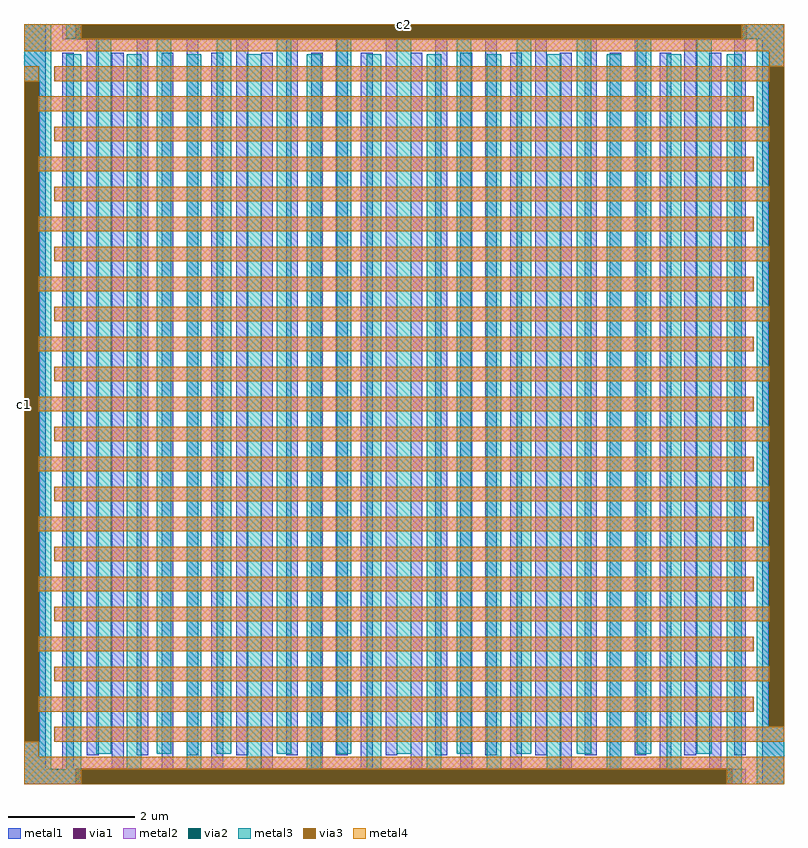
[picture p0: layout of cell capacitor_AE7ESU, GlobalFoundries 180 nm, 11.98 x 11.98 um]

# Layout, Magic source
magic
tech gf180mcuD
magscale 3 26
<< metal1 >>
rect 0 1920 60 2076
rect 104 2075 2076 2076
rect 104 2035 142 2075
rect 1974 2035 2076 2075
rect 104 2034 2076 2035
rect 0 116 1 1920
rect 41 116 60 1920
rect 0 42 60 116
rect 104 42 136 1998
rect 172 78 204 2034
rect 240 42 272 1998
rect 308 78 340 2034
rect 376 42 408 1998
rect 444 78 476 2034
rect 512 42 544 1998
rect 580 78 612 2034
rect 648 42 680 1998
rect 716 78 748 2034
rect 784 42 816 1998
rect 852 78 884 2034
rect 920 42 952 1998
rect 988 78 1020 2034
rect 1056 42 1088 1998
rect 1124 78 1156 2034
rect 1192 42 1224 1998
rect 1260 78 1292 2034
rect 1328 42 1360 1998
rect 1396 78 1428 2034
rect 1464 42 1496 1998
rect 1532 78 1564 2034
rect 1600 42 1632 1998
rect 1668 78 1700 2034
rect 1736 42 1768 1998
rect 1804 78 1836 2034
rect 1872 42 1904 1998
rect 1940 78 1972 2034
rect 2016 1960 2076 2034
rect 2016 156 2035 1960
rect 2075 156 2076 1960
rect 0 41 1972 42
rect 0 1 142 41
rect 1934 1 1972 41
rect 0 0 1972 1
rect 2016 0 2076 156
<< via1 >>
rect 142 2035 1974 2075
rect 1 116 41 1920
rect 2035 156 2075 1960
rect 142 1 1934 41
<< metal2 >>
rect 0 2075 156 2076
rect 1960 2075 2076 2076
rect 0 2035 142 2075
rect 1974 2035 2076 2075
rect 0 2002 2076 2035
rect 2035 1960 2076 2002
rect 0 1920 41 1960
rect 84 1920 2035 1960
rect 41 1838 1992 1878
rect 84 1756 2035 1796
rect 41 1674 1992 1714
rect 84 1592 2035 1632
rect 41 1510 1992 1550
rect 84 1428 2035 1468
rect 41 1346 1992 1386
rect 84 1264 2035 1304
rect 41 1182 1992 1222
rect 84 1100 2035 1140
rect 41 1018 1992 1058
rect 84 936 2035 976
rect 41 854 1992 894
rect 84 772 2035 812
rect 41 690 1992 730
rect 84 608 2035 648
rect 41 526 1992 566
rect 84 444 2035 484
rect 41 362 1992 402
rect 84 280 2035 320
rect 41 198 1992 238
rect 84 116 2076 156
rect 0 74 41 116
rect 0 41 2076 74
rect 0 1 142 41
rect 1934 1 2076 41
rect 0 0 156 1
rect 1920 0 2076 1
<< via2 >>
rect 156 2075 1960 2076
rect 156 2036 1960 2075
rect 0 116 1 1920
rect 1 116 40 1920
rect 2036 156 2075 1960
rect 2075 156 2076 1960
rect 156 1 1920 40
rect 156 0 1920 1
<< metal3 >>
rect 0 1920 74 2076
rect 116 2036 156 2076
rect 1960 2036 2076 2076
rect 40 116 74 1920
rect 0 40 74 116
rect 116 40 156 1994
rect 198 82 238 2036
rect 280 40 320 1994
rect 362 82 402 2036
rect 444 40 484 1994
rect 526 82 566 2036
rect 608 40 648 1994
rect 690 82 730 2036
rect 772 40 812 1994
rect 854 82 894 2036
rect 936 40 976 1994
rect 1018 82 1058 2036
rect 1100 40 1140 1994
rect 1182 82 1222 2036
rect 1264 40 1304 1994
rect 1346 82 1386 2036
rect 1428 40 1468 1994
rect 1510 82 1550 2036
rect 1592 40 1632 1994
rect 1674 82 1714 2036
rect 1756 40 1796 1994
rect 1838 82 1878 2036
rect 0 0 156 40
rect 1920 0 1960 1994
rect 2002 1960 2076 2036
rect 2002 156 2036 1960
rect 2002 0 2076 156
<< via3 >>
rect 156 2036 1960 2076
rect 0 116 40 1920
rect 156 0 1920 40
rect 2036 156 2076 1960
<< metal4 >>
rect 0 2036 156 2076
rect 1960 2036 2076 2076
rect 0 2002 2076 2036
rect 2036 1960 2076 2002
rect 0 1920 40 1960
rect 82 1920 2036 1960
rect 40 1838 1994 1878
rect 82 1756 2036 1796
rect 40 1674 1994 1714
rect 82 1592 2036 1632
rect 40 1510 1994 1550
rect 82 1428 2036 1468
rect 40 1346 1994 1386
rect 82 1264 2036 1304
rect 40 1182 1994 1222
rect 82 1100 2036 1140
rect 40 1018 1994 1058
rect 82 936 2036 976
rect 40 854 1994 894
rect 82 772 2036 812
rect 40 690 1994 730
rect 82 608 2036 648
rect 40 526 1994 566
rect 82 444 2036 484
rect 40 362 1994 402
rect 82 280 2036 320
rect 40 198 1994 238
rect 82 116 2076 156
rect 0 74 40 116
rect 0 40 2076 74
rect 0 0 156 40
rect 1920 0 2076 40
<< labels >>
rlabel via3 2 1038 2 1038 0 c1
port 1 nsew
rlabel via3 1038 2074 1038 2074 0 c2
port 2 nsew
<< properties >>
string device csubckt cap_cmomf 0 0 1 1 w=10.381u l=10.381u mmin=1 mmax=4 subblock=0 mm_ok=1 c1 0 0 c2 0 0
string FIXED_BBOX 0 0 2076 2076
string gencell cap_cmomf
string library gf180mcu
string parameters w 10.381 l 10.381 value 250.0 class capacitor mmin 1 mmax 4 square 1 subblock 0 lmin 2.00 wmin 2.00 lmax 100.0 wmax 100.0 m 1
<< end >>
